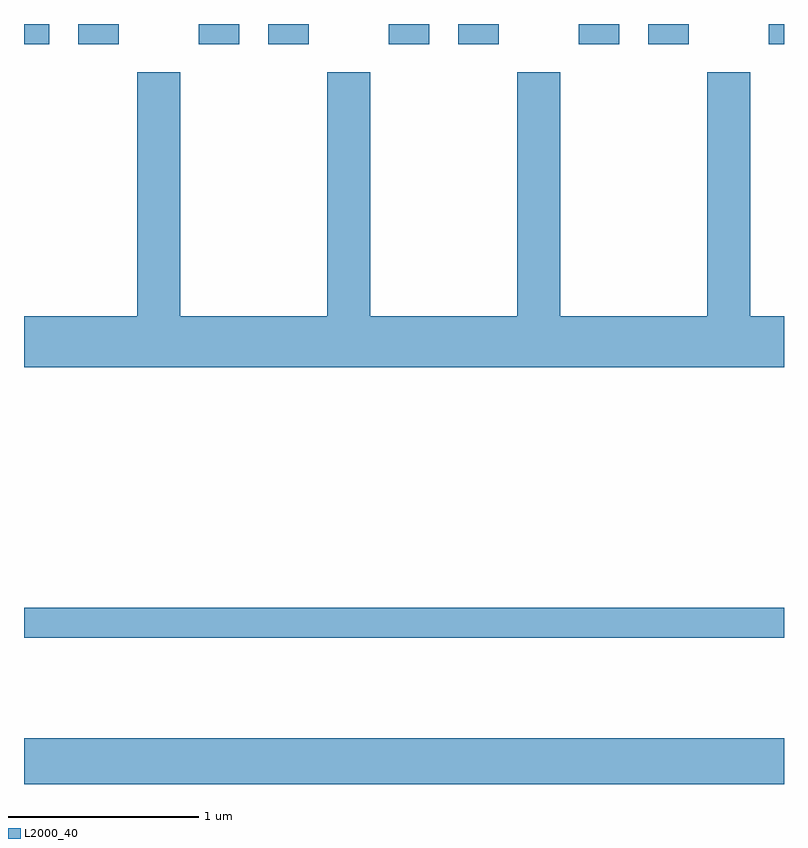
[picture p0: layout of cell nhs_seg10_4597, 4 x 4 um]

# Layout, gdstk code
import gdstk
lib = gdstk.Library(unit=1e-6, precision=1e-09)
def R(c, l, rs):  # rectangles x0, y0, x1, y1
    for r in rs: c.add(gdstk.rectangle(r[:2], r[2:], *l))
def P(c, l, *ps):  # polygons
    for p in ps: c.add(gdstk.Polygon(p, *l))
L2000_40 = (2000, 40)

nhs_seg10_4597 = lib.new_cell('nhs_seg10_4597')
R(nhs_seg10_4597, L2000_40, [(319.611,2200.522,323.611,2200.764), (319.611,2201.291,323.611,2201.449), (319.611,2204.416,319.744,2204.522), (319.896,2204.416,320.109,2204.522), (320.531,2204.416,320.744,2204.522), (320.896,2204.416,321.109,2204.522), (321.531,2204.416,321.744,2204.522), (321.896,2204.416,322.109,2204.522), (322.531,2204.416,322.744,2204.522), (322.896,2204.416,323.109,2204.522), (323.531,2204.416,323.611,2204.522)])
P(nhs_seg10_4597, L2000_40, [(323.611,2202.984),(323.434,2202.984),(323.434,2204.269),(323.206,2204.269),(323.206,2202.984),(322.434,2202.984),(322.434,2204.269),(322.206,2204.269),(322.206,2202.984),(321.434,2202.984),(321.434,2204.269),(321.206,2204.269),(321.206,2202.984),(320.434,2202.984),(320.434,2204.269),(320.206,2204.269),(320.206,2202.984),(319.611,2202.984),(319.611,2202.716),(323.611,2202.716)])

lib.write_gds('nhs_seg10_4597.gds')
